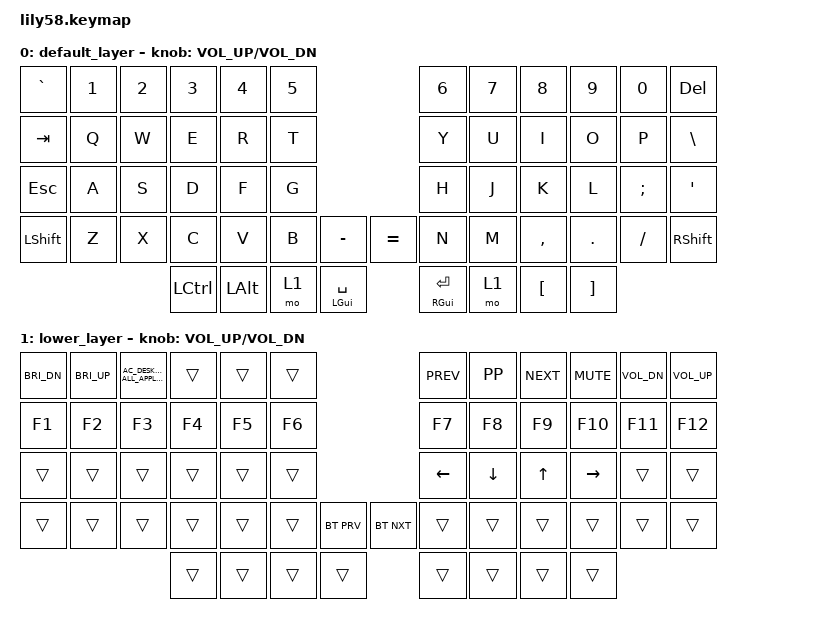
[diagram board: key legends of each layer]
/*
 * Copyright (c) 2020 The ZMK Contributors
 *
 * SPDX-License-Identifier: MIT
 */

#include <behaviors.dtsi>
#include <dt-bindings/zmk/keys.h>
#include <dt-bindings/zmk/bt.h>
#include <dt-bindings/zmk/ext_power.h>

// adapt these to your keymap (0 is upper left -> columns -> rows)
#define KEYS_L 0 1 2 3 4 5 12 13 14 15 16 17 24 25 26 27 28 29 36 37 38 39 40 41 42
#define KEYS_R 6 7 8 9 10 11 18 19 20 21 22 23 30 31 32 33 34 35 43 44 45 46 47 48 49
#define THUMBS 50 51 52 53 54 55 56 57

/ {

    behaviors {
        hml: home_row_mod_left {
            compatible = "zmk,behavior-hold-tap";
            #binding-cells = <2>;
            flavor = "balanced";
            require-prior-idle-ms = <150>;
            tapping-term-ms = <280>;
            quick-tap-ms = <175>;
            bindings = <&kp>, <&kp>;
            hold-trigger-key-positions = <KEYS_R THUMBS>; // List of keys on the right side of the keyboard
            hold-trigger-on-release;
        };
        hmr: home_row_mod_right {
            compatible = "zmk,behavior-hold-tap";
            #binding-cells = <2>;
            flavor = "balanced";
            require-prior-idle-ms = <150>;
            tapping-term-ms = <280>;
            quick-tap-ms = <175>;
            bindings = <&kp>, <&kp>;
            hold-trigger-key-positions = <KEYS_L THUMBS>; // List of keys on the left side of the keyboard
            hold-trigger-on-release;
        };
    };

    keymap {
        compatible = "zmk,keymap";

        default_layer {
            bindings = <
&kp GRAVE   &kp N1    &kp N2    &kp N3      &kp N4      &kp N5                          &kp N6  &kp N7    &kp N8     &kp N9   &kp N0    &kp DEL
&kp TAB     &kp Q     &kp W     &kp E       &kp R       &kp T                           &kp Y   &kp U     &kp I      &kp O    &kp P     &kp BACKSLASH
&kp ESC     &kp A     &kp S     &kp D       &kp F       &kp G                           &kp H   &kp J     &kp K      &kp L     &kp SEMI  &kp SQT
&kp LSHFT   &kp Z     &kp X     &kp C       &kp V       &kp B &kp MINUS       &kp EQUAL &kp N   &kp M     &kp COMMA  &kp DOT  &kp FSLH  &kp RSHIFT
                                &kp LCTRL   &kp LALT    &mo 1 &hml LGUI SPACE &hmr RGUI RET   &mo 1   &kp LBKT  &kp RBKT
            >;
            sensor-bindings = <&inc_dec_kp C_VOL_UP C_VOL_DN>;
        };

        lower_layer {
            bindings = <
&kp C_BRI_DN &kp C_BRI_UP     &kp C_AC_DESKTOP_SHOW_ALL_APPLICATIONS &trans            &trans       &trans                          &kp K_PREV &kp K_PP &kp K_NEXT &kp K_MUTE &kp K_VOL_DN &kp K_VOL_UP
&kp F1       &kp F2           &kp F3                                 &kp F4            &kp F5       &kp F6                          &kp F7     &kp F8   &kp F9     &kp F10    &kp F11      &kp F12
&trans       &trans           &trans                                 &trans            &trans       &trans                          &kp LEFT   &kp DOWN &kp UP     &kp RIGHT  &trans       &trans
&trans       &trans           &trans                                 &trans            &trans       &trans  &bt BT_PRV  &bt BT_NXT  &trans     &trans   &trans     &trans     &trans       &trans
                                                                     &trans            &trans       &trans  &trans      &trans      &trans     &trans   &trans
            >;
            sensor-bindings = <&inc_dec_kp C_VOL_UP C_VOL_DN>;
        };
    };
};
